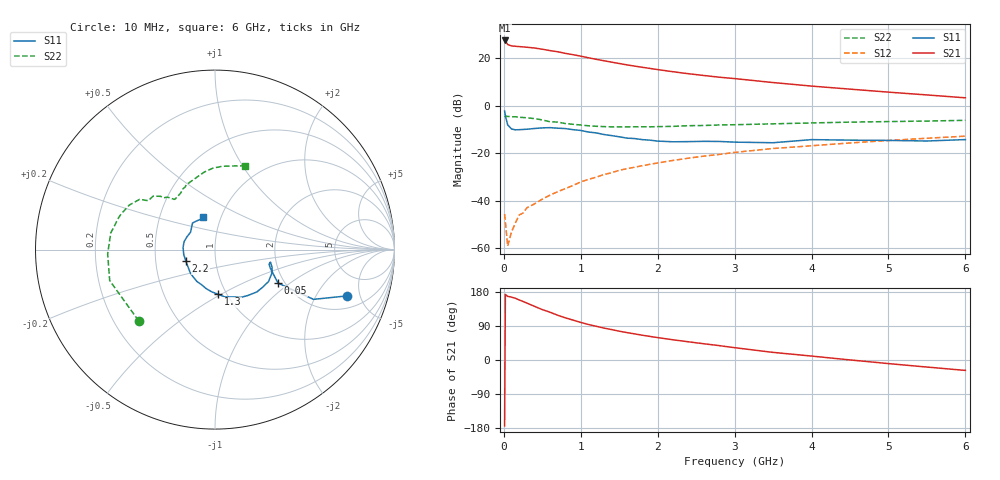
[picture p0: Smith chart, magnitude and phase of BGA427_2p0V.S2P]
! Infineon Technologies  Discrete & RF Semiconductors
! BGA427
! Si NPN RF SIEGET Grounded Emitter Transistor in SOT343
! VCE =  IC =
! Common Emitter S-Parameters:  November  1999
# GHz  S  MA  R  50
!  f  S11  S21  S12  S22
! GHz  MAG  ANG  MAG  ANG  MAG  ANG  MAG  ANG
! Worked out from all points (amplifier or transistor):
!   36 points, 10 MHz to 6 GHz, reference 50 ohm
!   highest |S21| = 27.6 dB at 10 MHz (marker M1)
!   |S21| within 3 dB of that: start of sweep to 341.4 MHz
!   unconditionally stable (mu >= 1): 13.32 MHz to end of sweep
!   at 250 MHz: K = 3.18, MAG = 27.1 dB, |S12| = -45.2 dB
!   at 1.4 GHz: K = 1.49, MAG = 19.2 dB, |S12| = -28.2 dB
!   at 6 GHz: K = 1.33, MAG = 4.6 dB, |S12| = -12.8 dB
!   S11 on the Smith chart (normalised r, x): 10 MHz: 2.87, -3.75; 50 MHz: 1.85, -0.82; 1.3 GHz: 0.91, -0.48; 2.2 GHz: 0.71, -0.09; 6 GHz: 0.82, +0.31
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0.01  0.7774 -19.4  23.93 -173.9  0.0052 -10.0  0.5819 -136.9
0.02  0.6148 -26.8  23.24 173.0  0.0036 -29.0  0.6115 -163.6
0.05  0.3978 -28.0  19.66 167.9  0.0011 -11.7  0.5985 -177.6
0.1  0.3252 -18.6  18.34 165.9  0.0022 50.5  0.5891 174.8
0.15  0.3123 -15.2  18.06 162.8  0.0034 65.2  0.5883 170.9
0.25  0.3177 -12.8  17.51 154.5  0.0055 76.6  0.5682 162.7
0.4  0.3334 -17.2  16.56 141.5  0.0086 82.6  0.5383 152.6
0.5  0.343 -23.0  15.64 133.0  0.0108 86.6  0.5048 146.3
0.7  0.3384 -38.2  13.82 118.1  0.0155 91.7  0.4552 139.1
0.8  0.3317 -45.3  12.79 111.2  0.018 92.9  0.4233 135.5
0.9  0.3145 -54.4  11.98 105.3  0.021 95.9  0.4082 135.1
1  0.3029 -61.4  11.16 99.1  0.0249 95.0  0.3949 132.3
1.1  0.2804 -69.9  10.32 93.7  0.0282 95.7  0.3796 130.7
1.3  0.2489 -86.2  8.951 84.3  0.0356 94.6  0.3652 129.5
1.5  0.2226 -102.8  7.82 76.0  0.0438 93.5  0.3586 127.8
1.7  0.2044 -119.4  6.89 68.9  0.0509 91.0  0.3617 126.0
2.2  0.1748 -158.6  5.239 53.3  0.0707 85.7  0.3695 120.8
2.8  0.1776 165.3  4.021 37.9  0.0945 79.2  0.3956 113.6
3.5  0.1669 144.8  3.099 20.1  0.1261 69.3  0.4177 103.4
4.5  0.1893 121.7  2.252 0.2  0.1652 59.0  0.4536 91.6
5.5  0.1815 110.7  1.699 -18.6  0.2076 47.1  0.478 77.1
6  0.1945 109.4  1.477 -27.5  0.2295 40.4  0.4952 70.4
